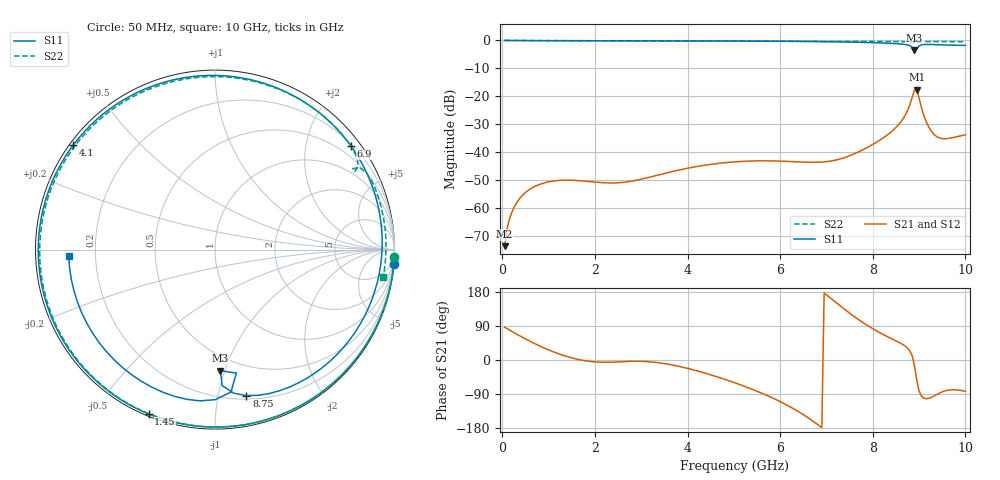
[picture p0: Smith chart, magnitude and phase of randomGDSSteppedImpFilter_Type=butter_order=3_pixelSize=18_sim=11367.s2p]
! freq	dB(S11)	phase(S11)	dB(S12)	phase(S12)
!  dB(S21)	phase(S21)	dB(S22)	phase(S22)
!S-par simulation data
#  GHz  S  DB  R 50
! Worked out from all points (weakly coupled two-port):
!   200 points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, 50 MHz to 10 GHz, reference 50 ohm
!   highest |S21| = -17.65 dB at 8.95 GHz (marker M1); lowest = -73.8 dB at 50 MHz (marker M2)
!   lowest |S11| = -3.4 dB at 8.9 GHz (marker M3), VSWR 5.16, Z = 19.5 - j48.3 ohm
!   |S11| at or under -10 dB: nowhere
!   |S22| runs from -1.0 to 0.0 dB; largest |S21 - S12| = 0
!   S11 on the Smith chart (normalised r, x): 50 MHz: 0, -24; 1.45 GHz: 0.01, -0.67; 4.1 GHz: 0.01, +0.33; 6.9 GHz: 0.24, +2.95; 8.75 GHz: 0.23, -1.21; 10 GHz: 0.10, -0.02
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0.05  -0.00 -4.7  -73.79 86.4  -73.79 86.4  -0.00 -2.5
0.1  -0.01 -9.3  -67.79 82.9  -67.79 82.9  -0.01 -4.9
0.2  -0.03 -18.5  -61.87 75.9  -61.87 75.9  -0.01 -9.8
0.45  -0.06 -40.7  -55.34 58.9  -55.34 58.9  -0.03 -21.8
0.9  -0.09 -76.6  -51.12 31.9  -51.12 31.9  -0.05 -43.0
1.45  -0.11 -112.0  -50.12 7.3  -50.12 7.3  -0.08 -67.8
1.75  -0.11 -127.9  -50.41 -1.1  -50.41 -1.1  -0.10 -80.6
2.5  -0.12 -160.9  -51.06 -5.0  -51.06 -5.0  -0.12 -110.4
3.4  -0.14 166.8  -48.11 -7.6  -48.11 -7.6  -0.16 -142.7
4.1  -0.17 143.6  -45.51 -25.2  -45.51 -25.2  -0.19 -166.1
5.05  -0.22 111.8  -43.51 -61.3  -43.51 -61.3  -0.23 163.2
5.9  -0.28 80.6  -43.23 -103.9  -43.23 -103.9  -0.27 135.6
6.7  -0.39 46.6  -43.72 -160.6  -43.72 -160.6  -0.30 108.8
6.9  -0.43 37.2  -43.62 -178.6  -43.62 -178.6  -0.31 102.0
7.65  -0.64 -2.4  -40.30 110.2  -40.30 110.2  -0.34 75.5
8.35  -1.01 -46.8  -33.42 59.6  -33.42 59.6  -0.37 49.9
8.75  -1.60 -77.9  -25.16 31.6  -25.16 31.6  -0.48 34.4
8.9  -3.41 -87.4  -17.80 -14.1  -17.80 -14.1  -1.00 29.1
8.95  -3.12 -80.2  -17.65 -53.5  -17.65 -53.5  -1.00 30.5
9.15  -1.42 -100.7  -28.99 -102.0  -28.99 -102.0  -0.41 22.5
9.35  -1.51 -119.1  -34.11 -93.2  -34.11 -93.2  -0.39 14.6
10  -1.77 -177.4  -33.82 -82.5  -33.82 -82.5  -0.45 -9.2
